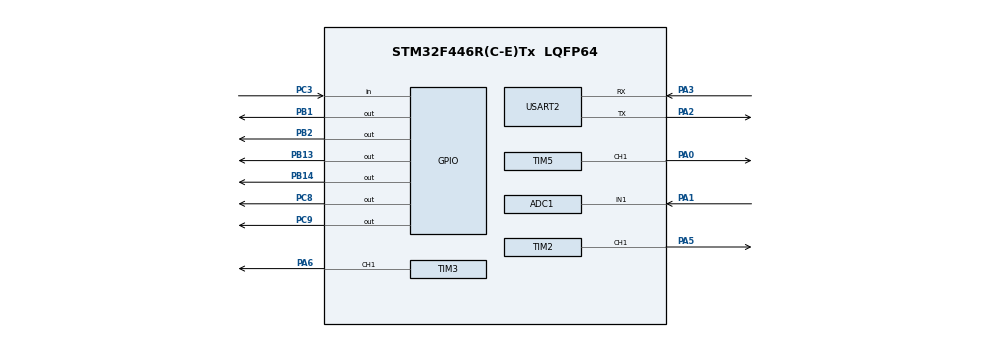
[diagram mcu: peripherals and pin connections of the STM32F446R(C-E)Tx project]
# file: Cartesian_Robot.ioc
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ADC1.Channel-1\#ChannelRegularConversion=ADC_CHANNEL_1
ADC1.ClockPrescaler=ADC_CLOCK_SYNC_PCLK_DIV4
ADC1.NbrOfConversionFlag=1
ADC1.Rank-1\#ChannelRegularConversion=1
ADC1.SamplingTime-1\#ChannelRegularConversion=ADC_SAMPLETIME_84CYCLES
ADC1.master=1
Mcu.Family=STM32F4
Mcu.Name=STM32F446R(C-E)Tx
Mcu.Package=LQFP64
NVIC.ADC_IRQn=true\:0\:0\:false\:false\:true\:true\:true\:true
NVIC.PriorityGroup=NVIC_PRIORITYGROUP_4
NVIC.TIM2_IRQn=true\:0\:0\:false\:false\:true\:true\:true\:true
NVIC.TIM3_IRQn=true\:0\:0\:false\:false\:true\:true\:true\:true
NVIC.TIM5_IRQn=true\:0\:0\:false\:false\:true\:true\:true\:true
NVIC.USART2_IRQn=true\:0\:0\:false\:false\:true\:true\:true\:true
PA0-WKUP.Signal=S_TIM5_CH1
PA1.Signal=ADCx_IN1
PA13.Mode=Serial_Wire
PA13.Signal=SYS_JTMS-SWDIO
PA14.Mode=Serial_Wire
PA14.Signal=SYS_JTCK-SWCLK
PA2.Mode=Asynchronous
PA2.Signal=USART2_TX
PA3.Mode=Asynchronous
PA3.Signal=USART2_RX
PA5.Signal=S_TIM2_CH1_ETR
PA6.Signal=S_TIM3_CH1
PB1.Signal=GPIO_Output
PB13.Signal=GPIO_Output
PB14.Signal=GPIO_Output
PB2.Signal=GPIO_Output
PC3.GPIO_PuPd=GPIO_NOPULL
PC3.Signal=GPIO_Input
PC8.Signal=GPIO_Output
PC9.Signal=GPIO_Output
ProjectManager.HeapSize=0x200
ProjectManager.StackSize=0x400
ProjectManager.TargetToolchain=STM32CubeIDE
RCC.CortexFreq_Value=16000000
RCC.USBFreq_Value=96000000
RCC.VCOOutputFreq_Value=192000000
SH.ADCx_IN1.0=ADC1_IN1,IN1
SH.S_TIM2_CH1_ETR.0=TIM2_CH1,PWM Generation1 CH1
SH.S_TIM3_CH1.0=TIM3_CH1,PWM Generation1 CH1
SH.S_TIM5_CH1.0=TIM5_CH1,PWM Generation1 CH1
TIM2.Channel-PWM\ Generation1\ CH1=TIM_CHANNEL_1
TIM2.OCPolarity_1=TIM_OCPOLARITY_LOW
TIM3.Channel-PWM\ Generation1\ CH1=TIM_CHANNEL_1
TIM5.Channel-PWM\ Generation1\ CH1=TIM_CHANNEL_1
TIM5.OCPolarity_1=TIM_OCPOLARITY_LOW
USART2.VirtualMode=VM_ASYNC
VP_TIM2_VS_ClockSourceINT.Mode=Internal
VP_TIM3_VS_ClockSourceINT.Mode=Internal
board=custom

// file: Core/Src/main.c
/* USER CODE BEGIN Header */
/**
  ******************************************************************************
  * @file           : main.c
  * @brief          : Main program body
  ******************************************************************************
  * @attention
  *
  * Copyright (c) 2026 STMicroelectronics.
  * All rights reserved.
  *
  * This software is licensed under terms that can be found in the LICENSE file
  * in the root directory of this software component.
  * If no LICENSE file comes with this software, it is provided AS-IS.
  *
  ******************************************************************************
  */
/* USER CODE END Header */
#include "main.h"

/* USER CODE BEGIN Includes */
#include "first_convey.h"
#include "cartesian.h"

//////////////////////////////
#include "board_pin.h"
#include <stdbool.h>
////////////////////////////
/* USER CODE END Includes */

ADC_HandleTypeDef hadc1;

TIM_HandleTypeDef htim2;
TIM_HandleTypeDef htim3;
TIM_HandleTypeDef htim5;

UART_HandleTypeDef huart2;

/* USER CODE BEGIN PV */
volatile uint32_t tim2_cnt = 0;
volatile uint32_t uart2_cnt = 0;

// ===================== 테스트 선택 =====================//////////////////////////////////////
// 1: X축만 1회(왕복)
// 2: Z축만 1회(왕복)
// 3: X축 1회(왕복) -> Z축 1회(왕복)
#define TEST_TARGET  3

// 이동 파라미터(너 상황에 맞게 조절)
#define TEST_STEPS   4000     // 이동 스텝 수(크면 더 많이 감)
#define TEST_HZ      1000     // 스텝 주파수(속도). 1000~5000 권장
#define PAUSE_MS     1000      // 동작 사이 쉬는 시간

extern TIM_HandleTypeDef htim2;   // X축: TIM2 CH1 (PA5)
extern TIM_HandleTypeDef htim5;   // Z축: TIM5 CH1 (PA0)

// EN 극성(모터드라이버에 따라 바뀜)
// 1이면 EN=HIGH가 Enable, 0이면 EN=LOW가 Enable
#define X_EN_ACTIVE_HIGH  1
#define Z_EN_ACTIVE_HIGH  1

typedef enum {
  T_IDLE = 0,

  T_X_FWD_START, T_X_FWD_WAIT,
  T_X_REV_START, T_X_REV_WAIT,

  T_Z_FWD_START, T_Z_FWD_WAIT,
  T_Z_REV_START, T_Z_REV_WAIT,

  T_DONE
} TestState;

static volatile TestState tstate = T_IDLE;

static volatile uint32_t x_remain = 0;
static volatile uint32_t z_remain = 0;
static volatile bool x_busy = false;
static volatile bool z_busy = false;

static uint32_t APB1_TimerClockHz(void)
{
  uint32_t pclk1 = HAL_RCC_GetPCLK1Freq();
  if ((RCC->CFGR & RCC_CFGR_PPRE1) != RCC_CFGR_PPRE1_DIV1) return pclk1 * 2;
  return pclk1;
}

static void PWM_SetHz(TIM_HandleTypeDef *htim, uint32_t channel, uint32_t hz)
{
  if (hz < 1) hz = 1;
  uint32_t timclk = APB1_TimerClockHz();   // TIM2/TIM5 모두 APB1 타이머
  uint32_t arr = (timclk / hz) - 1;

  __HAL_TIM_SET_PRESCALER(htim, 0);
  __HAL_TIM_SET_AUTORELOAD(htim, arr);
  __HAL_TIM_SET_COMPARE(htim, channel, arr / 10); // 50% duty
  __HAL_TIM_SET_COUNTER(htim, 0);
}

// ===== X 축 제어 =====
static void X_SetDir(bool dir)
{
  HAL_GPIO_WritePin(CAR_X_DIR_PORT, CAR_X_DIR_PIN, dir ? GPIO_PIN_SET : GPIO_PIN_RESET);
}

static void X_Enable(bool en)
{
  GPIO_PinState on  = X_EN_ACTIVE_HIGH ? GPIO_PIN_SET : GPIO_PIN_RESET;
  GPIO_PinState off = X_EN_ACTIVE_HIGH ? GPIO_PIN_RESET : GPIO_PIN_SET;
  HAL_GPIO_WritePin(CAR_X_EN_PORT, CAR_X_EN_PIN, en ? on : off);
}

static void X_Stop(void)
{
  HAL_TIM_PWM_Stop(&htim2, TIM_CHANNEL_1);
  __HAL_TIM_DISABLE_IT(&htim2, TIM_IT_UPDATE);
  //X_Enable(false);
  x_remain = 0;
  x_busy = false;
}

static void X_Start(uint32_t steps, bool dir, uint32_t hz)
{
  if (steps == 0) return;
  X_SetDir(dir);
  HAL_Delay(20);
  X_Enable(true);

  x_remain = steps;
  x_busy = true;

  PWM_SetHz(&htim2, TIM_CHANNEL_1, hz);
  __HAL_TIM_CLEAR_FLAG(&htim2, TIM_FLAG_UPDATE);
  __HAL_TIM_ENABLE_IT(&htim2, TIM_IT_UPDATE);

  HAL_TIM_PWM_Start(&htim2, TIM_CHANNEL_1);
}

// ===== Z 축 제어 =====
static void Z_SetDir(bool dir)
{
  HAL_GPIO_WritePin(CAR_Z_DIR_PORT, CAR_Z_DIR_PIN, dir ? GPIO_PIN_SET : GPIO_PIN_RESET);
}

static void Z_Enable(bool en)
{
  GPIO_PinState on  = Z_EN_ACTIVE_HIGH ? GPIO_PIN_SET : GPIO_PIN_RESET;
  GPIO_PinState off = Z_EN_ACTIVE_HIGH ? GPIO_PIN_RESET : GPIO_PIN_SET;
  HAL_GPIO_WritePin(CAR_Z_EN_PORT, CAR_Z_EN_PIN, en ? on : off);
}

static void Z_Stop(void)
{
  HAL_TIM_PWM_Stop(&htim5, TIM_CHANNEL_1);
  __HAL_TIM_DISABLE_IT(&htim5, TIM_IT_UPDATE);
  //Z_Enable(false);
  z_remain = 0;
  z_busy = false;
}

static void Z_Start(uint32_t steps, bool dir, uint32_t hz)
{
  if (steps == 0) return;
  Z_SetDir(dir);
  HAL_Delay(2);
  Z_Enable(true);

  z_remain = steps;
  z_busy = true;

  PWM_SetHz(&htim5, TIM_CHANNEL_1, hz);
  __HAL_TIM_CLEAR_FLAG(&htim5, TIM_FLAG_UPDATE);
  __HAL_TIM_ENABLE_IT(&htim5, TIM_IT_UPDATE);

  HAL_TIM_PWM_Start(&htim5, TIM_CHANNEL_1);
}

// ===== 테스트 러너 =====
void Test_RunOnce_Task(void)
{
  static uint32_t t0 = 0;

  switch (tstate)
  {
    case T_IDLE:
     // X_Enable(false);
      //Z_Enable(false);
      t0 = HAL_GetTick();

      if (TEST_TARGET == 1 || TEST_TARGET == 3) tstate = T_X_FWD_START;
      else                                      tstate = T_Z_FWD_START;
      break;

    // -------- X 왕복 --------
    case T_X_FWD_START:
      if (HAL_GetTick() - t0 < PAUSE_MS) break;
      X_Start(TEST_STEPS, true, TEST_HZ);
      tstate = T_X_FWD_WAIT;
      break;

    case T_X_FWD_WAIT:
      if (!x_busy) { t0 = HAL_GetTick(); tstate = T_X_REV_START; }
      break;

    case T_X_REV_START:
      if (HAL_GetTick() - t0 < PAUSE_MS) break;
      X_Start(TEST_STEPS, false, TEST_HZ);
      tstate = T_X_REV_WAIT;
      break;

    case T_X_REV_WAIT:
      if (!x_busy) {
        t0 = HAL_GetTick();
        if (TEST_TARGET == 1) tstate = T_DONE;
        else                  tstate = T_Z_FWD_START;
      }
      break;

    // -------- Z 왕복 --------
    case T_Z_FWD_START:
      if (HAL_GetTick() - t0 < PAUSE_MS) break;
      Z_Start(TEST_STEPS, true, TEST_HZ);
      tstate = T_Z_FWD_WAIT;
      break;

    case T_Z_FWD_WAIT:
      if (!z_busy) { t0 = HAL_GetTick(); tstate = T_Z_REV_START; }
      break;

    case T_Z_REV_START:
      if (HAL_GetTick() - t0 < PAUSE_MS) break;
      Z_Start(TEST_STEPS, false, TEST_HZ);
      tstate = T_Z_REV_WAIT;
      break;

    case T_Z_REV_WAIT:
      if (!z_busy) tstate = T_DONE;
      break;

    case T_DONE:
    default:
      // 여기서 멈춤(원하면 while(1)로 고정해도 됨)
      break;
  }
}

// TIM2/TIM5 Update 인터럽트에서 스텝 카운트 감소 → 0이면 자동 정지
void Test_RunOnce_OnTimPeriodElapsed(TIM_HandleTypeDef *htim)
{
  if (htim->Instance == TIM2 && x_busy) {
    if (x_remain) x_remain--;
    if (x_remain == 0) X_Stop();
  }

  if (htim->Instance == TIM5 && z_busy) {
    if (z_remain) z_remain--;
    if (z_remain == 0) Z_Stop();
  }
}
/////////////////////////////////////////////////////////////////////
/* USER CODE END PV */

void SystemClock_Config(void);
static void MX_GPIO_Init(void);
static void MX_TIM3_Init(void);
static void MX_ADC1_Init(void);
static void MX_USART2_UART_Init(void);
static void MX_TIM2_Init(void);
static void MX_TIM5_Init(void);

int main(void)
{

  /* MCU Configuration--------------------------------------------------------*/

  /* Reset of all peripherals, Initializes the Flash interface and the Systick. */
  HAL_Init();

  /* Configure the system clock */
  SystemClock_Config();

  /* Initialize all configured peripherals */
  MX_GPIO_Init();
  MX_TIM3_Init();
  MX_ADC1_Init();
  MX_USART2_UART_Init();
  MX_TIM2_Init();
  MX_TIM5_Init();

  /* Infinite loop */
  /* USER CODE BEGIN WHILE */
  while (1)
  {
	  Test_RunOnce_Task();
    /* USER CODE END WHILE */

  }
}

void SystemClock_Config(void)
{
  RCC_OscInitTypeDef RCC_OscInitStruct = {0};
  RCC_ClkInitTypeDef RCC_ClkInitStruct = {0};

  /** Configure the main internal regulator output voltage
  */
  __HAL_RCC_PWR_CLK_ENABLE();
  __HAL_PWR_VOLTAGESCALING_CONFIG(PWR_REGULATOR_VOLTAGE_SCALE3);

  /** Initializes the RCC Oscillators according to the specified parameters
  * in the RCC_OscInitTypeDef structure.
  */
  RCC_OscInitStruct.OscillatorType = RCC_OSCILLATORTYPE_HSI;
  RCC_OscInitStruct.HSIState = RCC_HSI_ON;
  RCC_OscInitStruct.HSICalibrationValue = RCC_HSICALIBRATION_DEFAULT;
  RCC_OscInitStruct.PLL.PLLState = RCC_PLL_NONE;
  if (HAL_RCC_OscConfig(&RCC_OscInitStruct) != HAL_OK)
  {
    Error_Handler();
  }

  /** Initializes the CPU, AHB and APB buses clocks
  */
  RCC_ClkInitStruct.ClockType = RCC_CLOCKTYPE_HCLK|RCC_CLOCKTYPE_SYSCLK
                              |RCC_CLOCKTYPE_PCLK1|RCC_CLOCKTYPE_PCLK2;
  RCC_ClkInitStruct.SYSCLKSource = RCC_SYSCLKSOURCE_HSI;
  RCC_ClkInitStruct.AHBCLKDivider = RCC_SYSCLK_DIV1;
  RCC_ClkInitStruct.APB1CLKDivider = RCC_HCLK_DIV1;
  RCC_ClkInitStruct.APB2CLKDivider = RCC_HCLK_DIV1;

  if (HAL_RCC_ClockConfig(&RCC_ClkInitStruct, FLASH_LATENCY_0) != HAL_OK)
  {
    Error_Handler();
  }
}

static void MX_ADC1_Init(void)
{

  ADC_ChannelConfTypeDef sConfig = {0};

  /** Configure the global features of the ADC (Clock, Resolution, Data Alignment and number of conversion)
  */
  hadc1.Instance = ADC1;
  hadc1.Init.ClockPrescaler = ADC_CLOCK_SYNC_PCLK_DIV4;
  hadc1.Init.Resolution = ADC_RESOLUTION_12B;
  hadc1.Init.ScanConvMode = DISABLE;
  hadc1.Init.ContinuousConvMode = DISABLE;
  hadc1.Init.DiscontinuousConvMode = DISABLE;
  hadc1.Init.ExternalTrigConvEdge = ADC_EXTERNALTRIGCONVEDGE_NONE;
  hadc1.Init.ExternalTrigConv = ADC_SOFTWARE_START;
  hadc1.Init.DataAlign = ADC_DATAALIGN_RIGHT;
  hadc1.Init.NbrOfConversion = 1;
  hadc1.Init.DMAContinuousRequests = DISABLE;
  hadc1.Init.EOCSelection = ADC_EOC_SINGLE_CONV;
  if (HAL_ADC_Init(&hadc1) != HAL_OK)
  {
    Error_Handler();
  }

  /** Configure for the selected ADC regular channel its corresponding rank in the sequencer and its sample time.
  */
  sConfig.Channel = ADC_CHANNEL_1;
  sConfig.Rank = 1;
  sConfig.SamplingTime = ADC_SAMPLETIME_84CYCLES;
  if (HAL_ADC_ConfigChannel(&hadc1, &sConfig) != HAL_OK)
  {
    Error_Handler();
  }

}

static void MX_TIM2_Init(void)
{

  TIM_ClockConfigTypeDef sClockSourceConfig = {0};
  TIM_MasterConfigTypeDef sMasterConfig = {0};
  TIM_OC_InitTypeDef sConfigOC = {0};

  htim2.Instance = TIM2;
  htim2.Init.Prescaler = 0;
  htim2.Init.CounterMode = TIM_COUNTERMODE_UP;
  htim2.Init.Period = 4294967295;
  htim2.Init.ClockDivision = TIM_CLOCKDIVISION_DIV1;
  htim2.Init.AutoReloadPreload = TIM_AUTORELOAD_PRELOAD_DISABLE;
  if (HAL_TIM_Base_Init(&htim2) != HAL_OK)
  {
    Error_Handler();
  }
  sClockSourceConfig.ClockSource = TIM_CLOCKSOURCE_INTERNAL;
  if (HAL_TIM_ConfigClockSource(&htim2, &sClockSourceConfig) != HAL_OK)
  {
    Error_Handler();
  }
  if (HAL_TIM_PWM_Init(&htim2) != HAL_OK)
  {
    Error_Handler();
  }
  sMasterConfig.MasterOutputTrigger = TIM_TRGO_RESET;
  sMasterConfig.MasterSlaveMode = TIM_MASTERSLAVEMODE_DISABLE;
  if (HAL_TIMEx_MasterConfigSynchronization(&htim2, &sMasterConfig) != HAL_OK)
  {
    Error_Handler();
  }
  sConfigOC.OCMode = TIM_OCMODE_PWM1;
  sConfigOC.Pulse = 0;
  sConfigOC.OCPolarity = TIM_OCPOLARITY_LOW;
  sConfigOC.OCFastMode = TIM_OCFAST_DISABLE;
  if (HAL_TIM_PWM_ConfigChannel(&htim2, &sConfigOC, TIM_CHANNEL_1) != HAL_OK)
  {
    Error_Handler();
  }
  HAL_TIM_MspPostInit(&htim2);

}

static void MX_TIM3_Init(void)
{

  TIM_ClockConfigTypeDef sClockSourceConfig = {0};
  TIM_MasterConfigTypeDef sMasterConfig = {0};
  TIM_OC_InitTypeDef sConfigOC = {0};

  htim3.Instance = TIM3;
  htim3.Init.Prescaler = 0;
  htim3.Init.CounterMode = TIM_COUNTERMODE_UP;
  htim3.Init.Period = 65535;
  htim3.Init.ClockDivision = TIM_CLOCKDIVISION_DIV1;
  htim3.Init.AutoReloadPreload = TIM_AUTORELOAD_PRELOAD_DISABLE;
  if (HAL_TIM_Base_Init(&htim3) != HAL_OK)
  {
    Error_Handler();
  }
  sClockSourceConfig.ClockSource = TIM_CLOCKSOURCE_INTERNAL;
  if (HAL_TIM_ConfigClockSource(&htim3, &sClockSourceConfig) != HAL_OK)
  {
    Error_Handler();
  }
  if (HAL_TIM_PWM_Init(&htim3) != HAL_OK)
  {
    Error_Handler();
  }
  sMasterConfig.MasterOutputTrigger = TIM_TRGO_RESET;
  sMasterConfig.MasterSlaveMode = TIM_MASTERSLAVEMODE_DISABLE;
  if (HAL_TIMEx_MasterConfigSynchronization(&htim3, &sMasterConfig) != HAL_OK)
  {
    Error_Handler();
  }
  sConfigOC.OCMode = TIM_OCMODE_PWM1;
  sConfigOC.Pulse = 0;
  sConfigOC.OCPolarity = TIM_OCPOLARITY_HIGH;
  sConfigOC.OCFastMode = TIM_OCFAST_DISABLE;
  if (HAL_TIM_PWM_ConfigChannel(&htim3, &sConfigOC, TIM_CHANNEL_1) != HAL_OK)
  {
    Error_Handler();
  }
  HAL_TIM_MspPostInit(&htim3);

}

static void MX_TIM5_Init(void)
{

  TIM_MasterConfigTypeDef sMasterConfig = {0};
  TIM_OC_InitTypeDef sConfigOC = {0};

  htim5.Instance = TIM5;
  htim5.Init.Prescaler = 0;
  htim5.Init.CounterMode = TIM_COUNTERMODE_UP;
  htim5.Init.Period = 4294967295;
  htim5.Init.ClockDivision = TIM_CLOCKDIVISION_DIV1;
  htim5.Init.AutoReloadPreload = TIM_AUTORELOAD_PRELOAD_DISABLE;
  if (HAL_TIM_PWM_Init(&htim5) != HAL_OK)
  {
    Error_Handler();
  }
  sMasterConfig.MasterOutputTrigger = TIM_TRGO_RESET;
  sMasterConfig.MasterSlaveMode = TIM_MASTERSLAVEMODE_DISABLE;
  if (HAL_TIMEx_MasterConfigSynchronization(&htim5, &sMasterConfig) != HAL_OK)
  {
    Error_Handler();
  }
  sConfigOC.OCMode = TIM_OCMODE_PWM1;
  sConfigOC.Pulse = 0;
  sConfigOC.OCPolarity = TIM_OCPOLARITY_LOW;
  sConfigOC.OCFastMode = TIM_OCFAST_DISABLE;
  if (HAL_TIM_PWM_ConfigChannel(&htim5, &sConfigOC, TIM_CHANNEL_1) != HAL_OK)
  {
    Error_Handler();
  }
  HAL_TIM_MspPostInit(&htim5);

}

static void MX_USART2_UART_Init(void)
{

  huart2.Instance = USART2;
  huart2.Init.BaudRate = 115200;
  huart2.Init.WordLength = UART_WORDLENGTH_8B;
  huart2.Init.StopBits = UART_STOPBITS_1;
  huart2.Init.Parity = UART_PARITY_NONE;
  huart2.Init.Mode = UART_MODE_TX_RX;
  huart2.Init.HwFlowCtl = UART_HWCONTROL_NONE;
  huart2.Init.OverSampling = UART_OVERSAMPLING_16;
  if (HAL_UART_Init(&huart2) != HAL_OK)
  {
    Error_Handler();
  }

}

static void MX_GPIO_Init(void)
{
  GPIO_InitTypeDef GPIO_InitStruct = {0};

  /* GPIO Ports Clock Enable */
  __HAL_RCC_GPIOC_CLK_ENABLE();
  __HAL_RCC_GPIOA_CLK_ENABLE();
  __HAL_RCC_GPIOB_CLK_ENABLE();

  /*Configure GPIO pin Output Level */
  HAL_GPIO_WritePin(GPIOB, GPIO_PIN_1|GPIO_PIN_2|GPIO_PIN_13|GPIO_PIN_14, GPIO_PIN_RESET);

  /*Configure GPIO pin Output Level */
  HAL_GPIO_WritePin(GPIOC, GPIO_PIN_8|GPIO_PIN_9, GPIO_PIN_RESET);

  /*Configure GPIO pin : PC3 */
  GPIO_InitStruct.Pin = GPIO_PIN_3;
  GPIO_InitStruct.Mode = GPIO_MODE_INPUT;
  GPIO_InitStruct.Pull = GPIO_NOPULL;
  HAL_GPIO_Init(GPIOC, &GPIO_InitStruct);

  /*Configure GPIO pins : PB1 PB2 PB13 PB14 */
  GPIO_InitStruct.Pin = GPIO_PIN_1|GPIO_PIN_2|GPIO_PIN_13|GPIO_PIN_14;
  GPIO_InitStruct.Mode = GPIO_MODE_OUTPUT_PP;
  GPIO_InitStruct.Pull = GPIO_NOPULL;
  GPIO_InitStruct.Speed = GPIO_SPEED_FREQ_LOW;
  HAL_GPIO_Init(GPIOB, &GPIO_InitStruct);

  /*Configure GPIO pins : PC8 PC9 */
  GPIO_InitStruct.Pin = GPIO_PIN_8|GPIO_PIN_9;
  GPIO_InitStruct.Mode = GPIO_MODE_OUTPUT_PP;
  GPIO_InitStruct.Pull = GPIO_NOPULL;
  GPIO_InitStruct.Speed = GPIO_SPEED_FREQ_LOW;
  HAL_GPIO_Init(GPIOC, &GPIO_InitStruct);

}

/* USER CODE BEGIN 4 */
//void HAL_TIM_PeriodElapsedCallback(TIM_HandleTypeDef *htim)
//{
//  if (htim->Instance == TIM2) tim2_cnt++;
//  Cartesian_OnTimPeriodElapsed(htim);
//}

void HAL_UART_RxCpltCallback(UART_HandleTypeDef *huart)
{
  if (huart->Instance == USART2) uart2_cnt++;
  Cartesian_OnUartRxCplt(huart);
}
///////////////////////////////////////////////////////////////////
void HAL_TIM_PeriodElapsedCallback(TIM_HandleTypeDef *htim)
{
  Test_RunOnce_OnTimPeriodElapsed(htim);   // <- 이거로 교체
}
//////////////////////////////////////////////////////////////
/* USER CODE END 4 */

void Error_Handler(void)
{
  __disable_irq();
  while (1)
  {
  }
}
